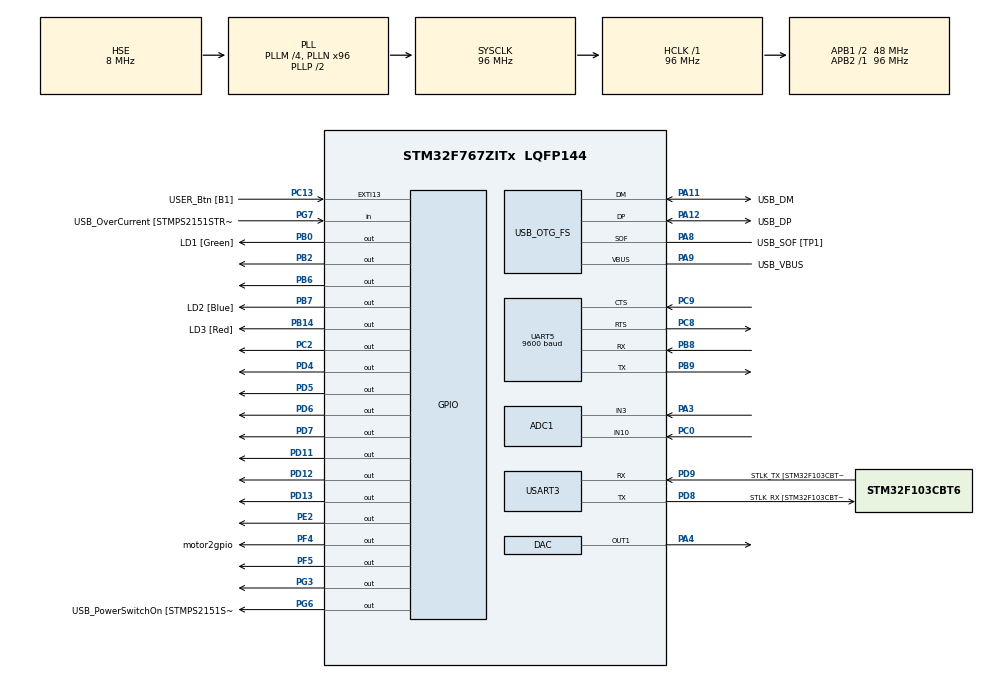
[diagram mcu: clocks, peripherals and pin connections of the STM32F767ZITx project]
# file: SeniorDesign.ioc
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ADC1.Channel-0\#ChannelRegularConversion=ADC_CHANNEL_3
ADC1.Channel-3\#ChannelRegularConversion=ADC_CHANNEL_10
ADC1.ContinuousConvMode=ENABLE
ADC1.EOCSelection=ADC_EOC_SINGLE_CONV
ADC1.NbrOfConversion=2
ADC1.NbrOfConversionFlag=1
ADC1.Rank-0\#ChannelRegularConversion=1
ADC1.Rank-3\#ChannelRegularConversion=2
ADC1.SamplingTime-0\#ChannelRegularConversion=ADC_SAMPLETIME_28CYCLES
ADC1.SamplingTime-3\#ChannelRegularConversion=ADC_SAMPLETIME_56CYCLES
ADC1.ScanConvMode=ADC_SCAN_ENABLE
ADC1.master=1
FREERTOS.Tasks01=stateMachine,24,128,StartDefaultTask,Default,NULL,Dynamic,NULL,NULL;sendData,17,128,StartTask02,Default,NULL,Dynamic,NULL,NULL
FREERTOS.configUSE_NEWLIB_REENTRANT=1
Mcu.Family=STM32F7
Mcu.Name=STM32F767ZITx
Mcu.Package=LQFP144
NVIC.PriorityGroup=NVIC_PRIORITYGROUP_4
NVIC.TIM1_UP_TIM10_IRQn=true\:5\:0\:false\:false\:true\:true\:true\:true\:true
NVIC.TIM6_DAC_IRQn=true\:15\:0\:false\:false\:true\:false\:false\:true\:true
NVIC.TIM7_IRQn=true\:5\:0\:false\:false\:true\:true\:true\:true\:true
NVIC.TimeBase=TIM6_DAC_IRQn
NVIC.TimeBaseIP=TIM6
NVIC.UART5_IRQn=true\:5\:0\:false\:false\:true\:true\:true\:true\:true
NVIC.USART3_IRQn=true\:5\:0\:false\:false\:true\:true\:true\:true\:true
PA1.GPIO_Label=RMII_REF_CLK [LAN8742A-CZ-TR_REFCLK0]
PA1.Signal=ETH_REF_CLK
PA10.GPIO_Label=USB_ID
PA10.Signal=USB_OTG_FS_ID
PA11.GPIO_Label=USB_DM
PA11.Mode=Device_Only
PA11.Signal=USB_OTG_FS_DM
PA12.GPIO_Label=USB_DP
PA12.Mode=Device_Only
PA12.Signal=USB_OTG_FS_DP
PA13.GPIO_Label=TMS
PA13.Mode=Serial_Wire
PA13.Signal=SYS_JTMS-SWDIO
PA14.GPIO_Label=TCK
PA14.Mode=Serial_Wire
PA14.Signal=SYS_JTCK-SWCLK
PA2.GPIO_Label=RMII_MDIO [LAN8742A-CZ-TR_MDIO]
PA2.Signal=ETH_MDIO
PA3.Signal=ADCx_IN3
PA4.Signal=COMP_DAC1_group
PA5.Signal=ADCx_IN5
PA6.Signal=ADCx_IN6
PA7.GPIO_Label=RMII_CRS_DV [LAN8742A-CZ-TR_CRS_DV]
PA7.Signal=ETH_CRS_DV
PA8.GPIO_Label=USB_SOF [TP1]
PA8.Mode=Activate_SOF_FS
PA8.Signal=USB_OTG_FS_SOF
PA9.GPIO_Label=USB_VBUS
PA9.Mode=Activate_VBUS
PA9.Signal=USB_OTG_FS_VBUS
PB0.GPIO_Label=LD1 [Green]
PB0.Signal=GPIO_Output
PB13.GPIO_Label=RMII_TXD1 [LAN8742A-CZ-TR_TXD1]
PB13.Signal=ETH_TXD1
PB14.GPIO_Label=LD3 [Red]
PB14.Signal=GPIO_Output
PB2.Signal=GPIO_Output
PB3.GPIO_Label=SWO
PB3.Signal=SYS_JTDO-SWO
PB6.PinState=GPIO_PIN_RESET
PB6.Signal=GPIO_Output
PB7.GPIO_Label=LD2 [Blue]
PB7.Signal=GPIO_Output
PB8.Mode=Asynchronous
PB8.Signal=UART5_RX
PB9.Mode=Asynchronous
PB9.Signal=UART5_TX
PC0.Signal=ADCx_IN10
PC1.GPIO_Label=RMII_MDC [LAN8742A-CZ-TR_MDC]
PC1.Signal=ETH_MDC
PC13.GPIO_Label=USER_Btn [B1]
PC13.Signal=GPXTI13
PC14/OSC32_IN.Mode=LSE-External-Oscillator
PC14/OSC32_IN.Signal=RCC_OSC32_IN
PC15/OSC32_OUT.Mode=LSE-External-Oscillator
PC15/OSC32_OUT.Signal=RCC_OSC32_OUT
PC2.Signal=GPIO_Output
PC4.GPIO_Label=RMII_RXD0 [LAN8742A-CZ-TR_RXD0]
PC4.Signal=ETH_RXD0
PC5.GPIO_Label=RMII_RXD1 [LAN8742A-CZ-TR_RXD1]
PC5.Signal=ETH_RXD1
PC8.Mode=CTS_RTS
PC8.Signal=UART5_RTS
PC9.Mode=CTS_RTS
PC9.Signal=UART5_CTS
PD11.Signal=GPIO_Output
PD12.Signal=GPIO_Output
PD13.Signal=GPIO_Output
PD4.Signal=GPIO_Output
PD5.Signal=GPIO_Output
PD6.Signal=GPIO_Output
PD7.Signal=GPIO_Output
PD8.GPIO_Label=STLK_RX [STM32F103CBT6_PA3]
PD8.Mode=Asynchronous
PD8.Signal=USART3_TX
PD9.GPIO_Label=STLK_TX [STM32F103CBT6_PA2]
PD9.Mode=Asynchronous
PD9.Signal=USART3_RX
PE2.Signal=GPIO_Output
PF4.GPIO_Label=motor2gpio
PF4.Signal=GPIO_Output
PF5.GPIO_Speed=GPIO_SPEED_FREQ_VERY_HIGH
PF5.Signal=GPIO_Output
PG11.GPIO_Label=RMII_TX_EN [LAN8742A-CZ-TR_TXEN]
PG11.Signal=ETH_TX_EN
PG13.GPIO_Label=RMII_TXD0 [LAN8742A-CZ-TR_TXD0]
PG13.Signal=ETH_TXD0
PG3.Signal=GPIO_Output
PG6.GPIO_Label=USB_PowerSwitchOn [STMPS2151STR_EN]
PG6.Signal=GPIO_Output
PG7.GPIO_Label=USB_OverCurrent [STMPS2151STR_FAULT]
PG7.Signal=GPIO_Input
PH0/OSC_IN.GPIO_Label=MCO [STM32F103CBT6_PA8]
PH0/OSC_IN.Mode=HSE-External-Oscillator
PH0/OSC_IN.Signal=RCC_OSC_IN
PH1/OSC_OUT.Mode=HSE-External-Oscillator
PH1/OSC_OUT.Signal=RCC_OSC_OUT
ProjectManager.HeapSize=0x200
ProjectManager.StackSize=0x400
ProjectManager.TargetToolchain=STM32CubeIDE
RCC.48MHZClocksFreq_Value=24000000
RCC.AHBFreq_Value=96000000
RCC.APB1CLKDivider=RCC_HCLK_DIV2
RCC.APB1Freq_Value=48000000
RCC.APB1TimFreq_Value=96000000
RCC.APB2Freq_Value=96000000
RCC.APB2TimFreq_Value=96000000
RCC.CortexFreq_Value=96000000
RCC.HCLKFreq_Value=96000000
RCC.HSE_VALUE=8000000
RCC.HSI_VALUE=16000000
RCC.PLLM=4
RCC.PLLMUL=RCC_PLL_MUL9
RCC.PLLN=96
RCC.PLLQ=4
RCC.PRESCALERUSB=RCC_USBCLKSOURCE_PLL_DIV1_5
RCC.SYSCLKFreq_VALUE=96000000
RCC.SYSCLKSource=RCC_SYSCLKSOURCE_PLLCLK
RCC.SYSCLKSourceVirtual=RCC_SYSCLKSOURCE_PLLCLK
RCC.USBFreq_Value=48000000
RCC.VCOOutputFreq_Value=192000000
SH.ADCx_IN10.0=ADC1_IN10,IN10
SH.ADCx_IN3.0=ADC1_IN3,IN3
SH.ADCx_IN5.0=ADC1_IN5
SH.ADCx_IN6.0=ADC1_IN6
SH.COMP_DAC1_group.0=DAC_OUT1,DAC_OUT1
TIM10.AutoReloadPreload=TIM_AUTORELOAD_PRELOAD_ENABLE
TIM10.Period=2000 - 1
TIM10.Prescaler=48000 - 1
TIM7.Period=5 - 1
TIM7.Prescaler=9600 - 1
UART5.BaudRate=9600
USART3.VirtualMode-Asynchronous=VM_ASYNC
USB_OTG_FS.VirtualMode=Device_Only
VP_FREERTOS_VS_CMSIS_V2.Mode=CMSIS_V2
VP_SYS_VS_tim6.Mode=TIM6
VP_TIM10_VS_ClockSourceINT.Mode=Enable_Timer
VP_TIM7_VS_ClockSourceINT.Mode=Enable_Timer
board=NUCLEO-F767ZI

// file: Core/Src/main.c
/* USER CODE BEGIN Header */
/**
  ******************************************************************************
  * @file           : main.c
  * @brief          : Main program body
  ******************************************************************************
  * @attention
  *
  * Copyright (c) 2024 STMicroelectronics.
  * All rights reserved.
  *
  * This software is licensed under terms that can be found in the LICENSE file
  * in the root directory of this software component.
  * If no LICENSE file comes with this software, it is provided AS-IS.
  *
  ******************************************************************************
  */
/* USER CODE END Header */
#include "main.h"
#include "cmsis_os.h"

/* USER CODE BEGIN Includes */
#include "flow_controller.h"
#include "project_calls.h"
#include "vacuum_gauge.h"
#include "stepperMotor.h"

#include <math.h>
#include <stdio.h>
#include <string.h>
#include <stdbool.h>
/* USER CODE END Includes */

/* USER CODE BEGIN PTD */
  enum State {
      START,
	  VAC_ACHIEVMENT_TEST_INIT,
      VAC_ACHIEVMENT_TEST,
	  SPECIAL_TEST_INIT,
	  SPECIAL_TEST,
	  WARM_UP_INIT,
      WARM_UP,
      LOAD_TEST_INIT,
	  LOAD_TEST,
      OPERATION_TEST_INIT,
	  OPERATION_TEST,
	  ULTIMATE_MEASURE_TEST_INIT,
      ULTIMATE_MEASURE_TEST,
      IDLE,
      FAIL_STATE,
      STOP
  };
  enum Status {
        IN_PROGRESS,
		COMPLETE,
		FAILURE
    };

  typedef struct{
	  uint8_t stateList[20];
	  uint8_t* currentState;
	  enum State eNextState;
	  uint8_t VATI[8];
	  uint8_t STI[9];
	  uint8_t WUI[8];
	  uint8_t LTI[9];
	  uint8_t OTI[9];
	  uint8_t UMTI[10];
	  enum Status pumpStatus;
  }Test;

/* USER CODE END PTD */

/* USER CODE BEGIN PD */
#define PUMP1 0
#define PUMP2 1

  // Define bit positions for flags
  #define SEND_DATA_BIT           (0)   // LSB

  // Define macros to set and clear individual bits
  #define SET_FLAG_BIT(byte, bit)     ((byte) |= (1 << (bit)))
  #define CLEAR_FLAG_BIT(byte, bit)   ((byte) &= ~(1 << (bit)))
  #define GET_FLAG_BIT(byte, bit)     (((byte) >> (bit)) & 1)
/* USER CODE END PD */

ADC_HandleTypeDef hadc1;

DAC_HandleTypeDef hdac;

TIM_HandleTypeDef htim7;
TIM_HandleTypeDef htim10;

UART_HandleTypeDef huart5;
UART_HandleTypeDef huart3;

PCD_HandleTypeDef hpcd_USB_OTG_FS;

/* Definitions for stateMachine */
osThreadId_t stateMachineHandle;
const osThreadAttr_t stateMachine_attributes = {
  .name = "stateMachine",
  .stack_size = 128 * 4,
  .priority = (osPriority_t) osPriorityNormal,
};
/* Definitions for sendData */
osThreadId_t sendDataHandle;
const osThreadAttr_t sendData_attributes = {
  .name = "sendData",
  .stack_size = 128 * 4,
  .priority = (osPriority_t) osPriorityBelowNormal1,
};
/* USER CODE BEGIN PV */

Test pumpTestsParameters[2] = {
    {
        .stateList = {0}, // Initialize all elements to 0
        .currentState = NULL, // Initialize pointer to NULL
        .eNextState = START,
        .VATI = {0}, // Initialize all elements to 0
        .STI = {0}, // Initialize all elements to 0
        .WUI = {0}, // Initialize all elements to 0
        .LTI = {0}, // Initialize all elements to 0
        .OTI = {0}, // Initialize all elements to 0
        .UMTI = {0}, // Initialize all elements to 0
        .pumpStatus = IN_PROGRESS
    },
    {
        .stateList = {0}, // Initialize all elements to 0
        .currentState = NULL, // Initialize pointer to NULL
        .eNextState = START,
        .VATI = {0}, // Initialize all elements to 0
        .STI = {0}, // Initialize all elements to 0
        .WUI = {0}, // Initialize all elements to 0
        .LTI = {0}, // Initialize all elements to 0
        .OTI = {0}, // Initialize all elements to 0
        .UMTI = {0}, // Initialize all elements to 0
        .pumpStatus = IN_PROGRESS
    }
};

uint8_t pump = 0;
float volts = 0;
float flowVolts = 0;
float vacVolts = 0;
float dacVolts = 0;
float flowRate = 0;
float vacuumScale = 0.0;
float temperature = 25.0;
char msg[68];

uint8_t tx_buffer[20];
uint8_t tx_buffer_size = 0;

// Declare the variable dataTransmitFlags
uint8_t dataTransmitFlags = 0;  // Initialize all bits to 0

uint8_t hours;
uint8_t minutes;
uint8_t seconds;

/* USER CODE END PV */

void SystemClock_Config(void);
static void MX_GPIO_Init(void);
static void MX_USART3_UART_Init(void);
static void MX_USB_OTG_FS_PCD_Init(void);
static void MX_ADC1_Init(void);
static void MX_DAC_Init(void);
static void MX_TIM10_Init(void);
static void MX_TIM7_Init(void);
static void MX_UART5_Init(void);
void StartDefaultTask(void *argument);
void StartTask02(void *argument);

/* USER CODE BEGIN PFP */
void resetTime();
void establishConnection(UART_HandleTypeDef *huart);
/* USER CODE END PFP */

/* USER CODE BEGIN 0 */

/* USER CODE END SysInit */

/* USER CODE END 0 */

int main(void)
{

  /* USER CODE BEGIN 1 */
	pumpTestsParameters[0].currentState = &pumpTestsParameters[0].stateList[0];
	pumpTestsParameters[1].currentState = &pumpTestsParameters[1].stateList[0];
  /* USER CODE END 1 */

  /* MCU Configuration--------------------------------------------------------*/

  /* Reset of all peripherals, Initializes the Flash interface and the Systick. */
  HAL_Init();

  /* Configure the system clock */
  SystemClock_Config();

  /* Initialize all configured peripherals */
  MX_GPIO_Init();
  MX_USART3_UART_Init();
  MX_USB_OTG_FS_PCD_Init();
  MX_ADC1_Init();
  MX_DAC_Init();
  MX_TIM10_Init();
  MX_TIM7_Init();
  MX_UART5_Init();
  /* USER CODE BEGIN 2 */
  // HAL_TIM_Base_Start_IT(&htim7);
  // establishConnection(&huart3);
  /* USER CODE END 2 */

  /* Init scheduler */
  osKernelInitialize();

  /* Create the thread(s) */
  /* creation of stateMachine */
  stateMachineHandle = osThreadNew(StartDefaultTask, NULL, &stateMachine_attributes);

  /* creation of sendData */
  sendDataHandle = osThreadNew(StartTask02, NULL, &sendData_attributes);

  /* USER CODE BEGIN RTOS_THREADS */
  /* add threads, ... */
  osThreadSuspend(sendDataHandle);

  /* USER CODE END RTOS_THREADS */

  /* Start scheduler */
  osKernelStart();

  /* We should never get here as control is now taken by the scheduler */

  /* Infinite loop */
  while (1)
  {

  }
}

void SystemClock_Config(void)
{
  RCC_OscInitTypeDef RCC_OscInitStruct = {0};
  RCC_ClkInitTypeDef RCC_ClkInitStruct = {0};

  /** Configure LSE Drive Capability
  */
  HAL_PWR_EnableBkUpAccess();

  /** Configure the main internal regulator output voltage
  */
  __HAL_RCC_PWR_CLK_ENABLE();
  __HAL_PWR_VOLTAGESCALING_CONFIG(PWR_REGULATOR_VOLTAGE_SCALE3);

  /** Initializes the RCC Oscillators according to the specified parameters
  * in the RCC_OscInitTypeDef structure.
  */
  RCC_OscInitStruct.OscillatorType = RCC_OSCILLATORTYPE_HSE;
  RCC_OscInitStruct.HSEState = RCC_HSE_ON;
  RCC_OscInitStruct.PLL.PLLState = RCC_PLL_ON;
  RCC_OscInitStruct.PLL.PLLSource = RCC_PLLSOURCE_HSE;
  RCC_OscInitStruct.PLL.PLLM = 4;
  RCC_OscInitStruct.PLL.PLLN = 96;
  RCC_OscInitStruct.PLL.PLLP = RCC_PLLP_DIV2;
  RCC_OscInitStruct.PLL.PLLQ = 4;
  RCC_OscInitStruct.PLL.PLLR = 2;
  if (HAL_RCC_OscConfig(&RCC_OscInitStruct) != HAL_OK)
  {
    Error_Handler();
  }

  /** Activate the Over-Drive mode
  */
  if (HAL_PWREx_EnableOverDrive() != HAL_OK)
  {
    Error_Handler();
  }

  /** Initializes the CPU, AHB and APB buses clocks
  */
  RCC_ClkInitStruct.ClockType = RCC_CLOCKTYPE_HCLK|RCC_CLOCKTYPE_SYSCLK
                              |RCC_CLOCKTYPE_PCLK1|RCC_CLOCKTYPE_PCLK2;
  RCC_ClkInitStruct.SYSCLKSource = RCC_SYSCLKSOURCE_PLLCLK;
  RCC_ClkInitStruct.AHBCLKDivider = RCC_SYSCLK_DIV1;
  RCC_ClkInitStruct.APB1CLKDivider = RCC_HCLK_DIV2;
  RCC_ClkInitStruct.APB2CLKDivider = RCC_HCLK_DIV1;

  if (HAL_RCC_ClockConfig(&RCC_ClkInitStruct, FLASH_LATENCY_3) != HAL_OK)
  {
    Error_Handler();
  }
}

static void MX_ADC1_Init(void)
{

  ADC_ChannelConfTypeDef sConfig = {0};

  /** Configure the global features of the ADC (Clock, Resolution, Data Alignment and number of conversion)
  */
  hadc1.Instance = ADC1;
  hadc1.Init.ClockPrescaler = ADC_CLOCK_SYNC_PCLK_DIV4;
  hadc1.Init.Resolution = ADC_RESOLUTION_12B;
  hadc1.Init.ScanConvMode = ADC_SCAN_ENABLE;
  hadc1.Init.ContinuousConvMode = ENABLE;
  hadc1.Init.DiscontinuousConvMode = DISABLE;
  hadc1.Init.ExternalTrigConvEdge = ADC_EXTERNALTRIGCONVEDGE_NONE;
  hadc1.Init.ExternalTrigConv = ADC_SOFTWARE_START;
  hadc1.Init.DataAlign = ADC_DATAALIGN_RIGHT;
  hadc1.Init.NbrOfConversion = 2;
  hadc1.Init.DMAContinuousRequests = DISABLE;
  hadc1.Init.EOCSelection = ADC_EOC_SINGLE_CONV;
  if (HAL_ADC_Init(&hadc1) != HAL_OK)
  {
    Error_Handler();
  }

  /** Configure for the selected ADC regular channel its corresponding rank in the sequencer and its sample time.
  */
  sConfig.Channel = ADC_CHANNEL_3;
  sConfig.Rank = ADC_REGULAR_RANK_1;
  sConfig.SamplingTime = ADC_SAMPLETIME_28CYCLES;
  if (HAL_ADC_ConfigChannel(&hadc1, &sConfig) != HAL_OK)
  {
    Error_Handler();
  }

  /** Configure for the selected ADC regular channel its corresponding rank in the sequencer and its sample time.
  */
  sConfig.Channel = ADC_CHANNEL_10;
  sConfig.Rank = ADC_REGULAR_RANK_2;
  sConfig.SamplingTime = ADC_SAMPLETIME_56CYCLES;
  if (HAL_ADC_ConfigChannel(&hadc1, &sConfig) != HAL_OK)
  {
    Error_Handler();
  }

}

static void MX_DAC_Init(void)
{

  DAC_ChannelConfTypeDef sConfig = {0};

  /** DAC Initialization
  */
  hdac.Instance = DAC;
  if (HAL_DAC_Init(&hdac) != HAL_OK)
  {
    Error_Handler();
  }

  /** DAC channel OUT1 config
  */
  sConfig.DAC_Trigger = DAC_TRIGGER_NONE;
  sConfig.DAC_OutputBuffer = DAC_OUTPUTBUFFER_ENABLE;
  if (HAL_DAC_ConfigChannel(&hdac, &sConfig, DAC_CHANNEL_1) != HAL_OK)
  {
    Error_Handler();
  }

}

static void MX_TIM7_Init(void)
{

  TIM_MasterConfigTypeDef sMasterConfig = {0};

  htim7.Instance = TIM7;
  htim7.Init.Prescaler = 9600 - 1;
  htim7.Init.CounterMode = TIM_COUNTERMODE_UP;
  htim7.Init.Period = 5 - 1;
  htim7.Init.AutoReloadPreload = TIM_AUTORELOAD_PRELOAD_DISABLE;
  if (HAL_TIM_Base_Init(&htim7) != HAL_OK)
  {
    Error_Handler();
  }
  sMasterConfig.MasterOutputTrigger = TIM_TRGO_RESET;
  sMasterConfig.MasterSlaveMode = TIM_MASTERSLAVEMODE_DISABLE;
  if (HAL_TIMEx_MasterConfigSynchronization(&htim7, &sMasterConfig) != HAL_OK)
  {
    Error_Handler();
  }

}

static void MX_TIM10_Init(void)
{

  htim10.Instance = TIM10;
  htim10.Init.Prescaler = 48000 - 1;
  htim10.Init.CounterMode = TIM_COUNTERMODE_UP;
  htim10.Init.Period = 2000 - 1;
  htim10.Init.ClockDivision = TIM_CLOCKDIVISION_DIV1;
  htim10.Init.AutoReloadPreload = TIM_AUTORELOAD_PRELOAD_ENABLE;
  if (HAL_TIM_Base_Init(&htim10) != HAL_OK)
  {
    Error_Handler();
  }

}

static void MX_UART5_Init(void)
{

  huart5.Instance = UART5;
  huart5.Init.BaudRate = 9600;
  huart5.Init.WordLength = UART_WORDLENGTH_8B;
  huart5.Init.StopBits = UART_STOPBITS_1;
  huart5.Init.Parity = UART_PARITY_NONE;
  huart5.Init.Mode = UART_MODE_TX_RX;
  huart5.Init.HwFlowCtl = UART_HWCONTROL_RTS_CTS;
  huart5.Init.OverSampling = UART_OVERSAMPLING_16;
  huart5.Init.OneBitSampling = UART_ONE_BIT_SAMPLE_DISABLE;
  huart5.AdvancedInit.AdvFeatureInit = UART_ADVFEATURE_NO_INIT;
  if (HAL_UART_Init(&huart5) != HAL_OK)
  {
    Error_Handler();
  }

}

static void MX_USART3_UART_Init(void)
{

  huart3.Instance = USART3;
  huart3.Init.BaudRate = 115200;
  huart3.Init.WordLength = UART_WORDLENGTH_8B;
  huart3.Init.StopBits = UART_STOPBITS_1;
  huart3.Init.Parity = UART_PARITY_NONE;
  huart3.Init.Mode = UART_MODE_TX_RX;
  huart3.Init.HwFlowCtl = UART_HWCONTROL_NONE;
  huart3.Init.OverSampling = UART_OVERSAMPLING_16;
  huart3.Init.OneBitSampling = UART_ONE_BIT_SAMPLE_DISABLE;
  huart3.AdvancedInit.AdvFeatureInit = UART_ADVFEATURE_NO_INIT;
  if (HAL_UART_Init(&huart3) != HAL_OK)
  {
    Error_Handler();
  }

}

static void MX_USB_OTG_FS_PCD_Init(void)
{

  hpcd_USB_OTG_FS.Instance = USB_OTG_FS;
  hpcd_USB_OTG_FS.Init.dev_endpoints = 6;
  hpcd_USB_OTG_FS.Init.speed = PCD_SPEED_FULL;
  hpcd_USB_OTG_FS.Init.dma_enable = DISABLE;
  hpcd_USB_OTG_FS.Init.phy_itface = PCD_PHY_EMBEDDED;
  hpcd_USB_OTG_FS.Init.Sof_enable = ENABLE;
  hpcd_USB_OTG_FS.Init.low_power_enable = DISABLE;
  hpcd_USB_OTG_FS.Init.lpm_enable = DISABLE;
  hpcd_USB_OTG_FS.Init.vbus_sensing_enable = ENABLE;
  hpcd_USB_OTG_FS.Init.use_dedicated_ep1 = DISABLE;
  if (HAL_PCD_Init(&hpcd_USB_OTG_FS) != HAL_OK)
  {
    Error_Handler();
  }

}

static void MX_GPIO_Init(void)
{
  GPIO_InitTypeDef GPIO_InitStruct = {0};

  /* GPIO Ports Clock Enable */
  __HAL_RCC_GPIOE_CLK_ENABLE();
  __HAL_RCC_GPIOC_CLK_ENABLE();
  __HAL_RCC_GPIOF_CLK_ENABLE();
  __HAL_RCC_GPIOH_CLK_ENABLE();
  __HAL_RCC_GPIOA_CLK_ENABLE();
  __HAL_RCC_GPIOB_CLK_ENABLE();
  __HAL_RCC_GPIOD_CLK_ENABLE();
  __HAL_RCC_GPIOG_CLK_ENABLE();

  /*Configure GPIO pin Output Level */
  HAL_GPIO_WritePin(GPIOE, GPIO_PIN_2, GPIO_PIN_RESET);

  /*Configure GPIO pin Output Level */
  HAL_GPIO_WritePin(GPIOF, motor2gpio_Pin|GPIO_PIN_5, GPIO_PIN_RESET);

  /*Configure GPIO pin Output Level */
  HAL_GPIO_WritePin(GPIOC, GPIO_PIN_2, GPIO_PIN_RESET);

  /*Configure GPIO pin Output Level */
  HAL_GPIO_WritePin(GPIOB, LD1_Pin|GPIO_PIN_2|LD3_Pin|GPIO_PIN_6
                          |LD2_Pin, GPIO_PIN_RESET);

  /*Configure GPIO pin Output Level */
  HAL_GPIO_WritePin(GPIOD, GPIO_PIN_11|GPIO_PIN_12|GPIO_PIN_13|GPIO_PIN_4
                          |GPIO_PIN_5|GPIO_PIN_6|GPIO_PIN_7, GPIO_PIN_RESET);

  /*Configure GPIO pin Output Level */
  HAL_GPIO_WritePin(GPIOG, GPIO_PIN_3|USB_PowerSwitchOn_Pin, GPIO_PIN_RESET);

  /*Configure GPIO pin : PE2 */
  GPIO_InitStruct.Pin = GPIO_PIN_2;
  GPIO_InitStruct.Mode = GPIO_MODE_OUTPUT_PP;
  GPIO_InitStruct.Pull = GPIO_NOPULL;
  GPIO_InitStruct.Speed = GPIO_SPEED_FREQ_LOW;
  HAL_GPIO_Init(GPIOE, &GPIO_InitStruct);

  /*Configure GPIO pin : USER_Btn_Pin */
  GPIO_InitStruct.Pin = USER_Btn_Pin;
  GPIO_InitStruct.Mode = GPIO_MODE_IT_RISING;
  GPIO_InitStruct.Pull = GPIO_NOPULL;
  HAL_GPIO_Init(USER_Btn_GPIO_Port, &GPIO_InitStruct);

  /*Configure GPIO pin : motor2gpio_Pin */
  GPIO_InitStruct.Pin = motor2gpio_Pin;
  GPIO_InitStruct.Mode = GPIO_MODE_OUTPUT_PP;
  GPIO_InitStruct.Pull = GPIO_NOPULL;
  GPIO_InitStruct.Speed = GPIO_SPEED_FREQ_LOW;
  HAL_GPIO_Init(motor2gpio_GPIO_Port, &GPIO_InitStruct);

  /*Configure GPIO pin : PF5 */
  GPIO_InitStruct.Pin = GPIO_PIN_5;
  GPIO_InitStruct.Mode = GPIO_MODE_OUTPUT_PP;
  GPIO_InitStruct.Pull = GPIO_NOPULL;
  GPIO_InitStruct.Speed = GPIO_SPEED_FREQ_VERY_HIGH;
  HAL_GPIO_Init(GPIOF, &GPIO_InitStruct);

  /*Configure GPIO pins : RMII_MDC_Pin RMII_RXD0_Pin RMII_RXD1_Pin */
  GPIO_InitStruct.Pin = RMII_MDC_Pin|RMII_RXD0_Pin|RMII_RXD1_Pin;
  GPIO_InitStruct.Mode = GPIO_MODE_AF_PP;
  GPIO_InitStruct.Pull = GPIO_NOPULL;
  GPIO_InitStruct.Speed = GPIO_SPEED_FREQ_VERY_HIGH;
  GPIO_InitStruct.Alternate = GPIO_AF11_ETH;
  HAL_GPIO_Init(GPIOC, &GPIO_InitStruct);

  /*Configure GPIO pin : PC2 */
  GPIO_InitStruct.Pin = GPIO_PIN_2;
  GPIO_InitStruct.Mode = GPIO_MODE_OUTPUT_PP;
  GPIO_InitStruct.Pull = GPIO_NOPULL;
  GPIO_InitStruct.Speed = GPIO_SPEED_FREQ_LOW;
  HAL_GPIO_Init(GPIOC, &GPIO_InitStruct);

  /*Configure GPIO pins : RMII_REF_CLK_Pin RMII_MDIO_Pin RMII_CRS_DV_Pin */
  GPIO_InitStruct.Pin = RMII_REF_CLK_Pin|RMII_MDIO_Pin|RMII_CRS_DV_Pin;
  GPIO_InitStruct.Mode = GPIO_MODE_AF_PP;
  GPIO_InitStruct.Pull = GPIO_NOPULL;
  GPIO_InitStruct.Speed = GPIO_SPEED_FREQ_VERY_HIGH;
  GPIO_InitStruct.Alternate = GPIO_AF11_ETH;
  HAL_GPIO_Init(GPIOA, &GPIO_InitStruct);

  /*Configure GPIO pins : LD1_Pin PB2 LD3_Pin PB6
                           LD2_Pin */
  GPIO_InitStruct.Pin = LD1_Pin|GPIO_PIN_2|LD3_Pin|GPIO_PIN_6
                          |LD2_Pin;
  GPIO_InitStruct.Mode = GPIO_MODE_OUTPUT_PP;
  GPIO_InitStruct.Pull = GPIO_NOPULL;
  GPIO_InitStruct.Speed = GPIO_SPEED_FREQ_LOW;
  HAL_GPIO_Init(GPIOB, &GPIO_InitStruct);

  /*Configure GPIO pin : RMII_TXD1_Pin */
  GPIO_InitStruct.Pin = RMII_TXD1_Pin;
  GPIO_InitStruct.Mode = GPIO_MODE_AF_PP;
  GPIO_InitStruct.Pull = GPIO_NOPULL;
  GPIO_InitStruct.Speed = GPIO_SPEED_FREQ_VERY_HIGH;
  GPIO_InitStruct.Alternate = GPIO_AF11_ETH;
  HAL_GPIO_Init(RMII_TXD1_GPIO_Port, &GPIO_InitStruct);

  /*Configure GPIO pins : PD11 PD12 PD13 PD4
                           PD5 PD6 PD7 */
  GPIO_InitStruct.Pin = GPIO_PIN_11|GPIO_PIN_12|GPIO_PIN_13|GPIO_PIN_4
                          |GPIO_PIN_5|GPIO_PIN_6|GPIO_PIN_7;
  GPIO_InitStruct.Mode = GPIO_MODE_OUTPUT_PP;
  GPIO_InitStruct.Pull = GPIO_NOPULL;
  GPIO_InitStruct.Speed = GPIO_SPEED_FREQ_LOW;
  HAL_GPIO_Init(GPIOD, &GPIO_InitStruct);

  /*Configure GPIO pins : PG3 USB_PowerSwitchOn_Pin */
  GPIO_InitStruct.Pin = GPIO_PIN_3|USB_PowerSwitchOn_Pin;
  GPIO_InitStruct.Mode = GPIO_MODE_OUTPUT_PP;
  GPIO_InitStruct.Pull = GPIO_NOPULL;
  GPIO_InitStruct.Speed = GPIO_SPEED_FREQ_LOW;
  HAL_GPIO_Init(GPIOG, &GPIO_InitStruct);

  /*Configure GPIO pin : USB_OverCurrent_Pin */
  GPIO_InitStruct.Pin = USB_OverCurrent_Pin;
  GPIO_InitStruct.Mode = GPIO_MODE_INPUT;
  GPIO_InitStruct.Pull = GPIO_NOPULL;
  HAL_GPIO_Init(USB_OverCurrent_GPIO_Port, &GPIO_InitStruct);

  /*Configure GPIO pins : RMII_TX_EN_Pin RMII_TXD0_Pin */
  GPIO_InitStruct.Pin = RMII_TX_EN_Pin|RMII_TXD0_Pin;
  GPIO_InitStruct.Mode = GPIO_MODE_AF_PP;
  GPIO_InitStruct.Pull = GPIO_NOPULL;
  GPIO_InitStruct.Speed = GPIO_SPEED_FREQ_VERY_HIGH;
  GPIO_InitStruct.Alternate = GPIO_AF11_ETH;
  HAL_GPIO_Init(GPIOG, &GPIO_InitStruct);

}

/* USER CODE BEGIN 4 */

void HAL_UART_RxCpltCallback(UART_HandleTypeDef *huart)
{
    if (huart == &huart3)
    {
        // Echo received data back
        //HAL_UART_Transmit(&huart3, (uint8_t*)tx_buffer, tx_buffer_size, HAL_MAX_DELAY);
        // Start a new receive operation
        //HAL_UART_Receive_IT(&huart3, (uint8_t*)rx_buffer, 5);
    }
}
void resetTime(){
	seconds = 0;
	minutes = 0;
	hours = 0;
//	HAL_TIM_Base_DeInit(&htim10);
//	HAL_TIM_Base_Init(&htim10);
}
/* USER CODE END 4 */

void StartDefaultTask(void *argument)
{
  /* USER CODE BEGIN 5 */
  /* Infinite loop */
  for(;;)
  {
	  switch(pumpTestsParameters[pump].eNextState) {
	  			case START:
	  				osThreadSuspend(sendDataHandle);
					volts = setFlowRate(0);					// assigns volts to 0 L/min
					//dacSet(&hdac, DAC_CHANNEL_1, volts);	// Sets volts
					flowControllerADC(&hadc1);				// Changes ADC mult to read Flow Ctrl
					//flowStateOpen();						// Opens Flow Ctrl
					resetTime();							// Resets Clk

					recalibrate();
					HAL_TIM_Base_Start_IT(&htim7);			// Opens Stepper Motor

//					if(pump){
//						solenoidTwoOpen();
//					}else{
//						solenoidOneOpen();
//					}
					solenoidTwoOpen();
//	  				pumpTestsParameters[0].stateList[0] = START;
//	  				pumpTestsParameters[0].stateList[1] = IDLE;
//	  				//pumpTestsParameters[0].stateList[1] = VAC_ACHIEVMENT_TEST_INIT;
//	  				pumpTestsParameters[0].stateList[2] = SPECIAL_TEST_INIT;
//	  				pumpTestsParameters[0].stateList[3] = WARM_UP_INIT;
//	  				pumpTestsParameters[0].stateList[4] = LOAD_TEST_INIT;
//	  				pumpTestsParameters[0].stateList[5] = OPERATION_TEST_INIT;
//	  				pumpTestsParameters[0].stateList[6] = VAC_ACHIEVMENT_TEST_INIT;
//	  				pumpTestsParameters[0].stateList[7] = ULTIMATE_MEASURE_TEST_INIT;
//	  				pumpTestsParameters[0].stateList[8] = IDLE;
//	  				pumpTestsParameters[0].stateList[9] = 0;

					// sends current State
					HAL_UART_Transmit(&huart3, (uint8_t*)&pumpTestsParameters[pump].eNextState, 1, HAL_MAX_DELAY);

					// Receives State List
					HAL_UART_Receive(&huart3, (uint8_t*)&pumpTestsParameters[pump].stateList, 20, HAL_MAX_DELAY);

					pumpTestsParameters[pump].eNextState = *(pumpTestsParameters[pump]).currentState;
	  				break;
	  			case VAC_ACHIEVMENT_TEST_INIT:

//					pumpTestsParameters[0].VATI[0] = VAC_ACHIEVMENT_TEST_INIT;
//					pumpTestsParameters[0].VATI[1] = PUMP1;
//					pumpTestsParameters[0].VATI[2] = 1;		// TIMER HOURS
//					pumpTestsParameters[0].VATI[3] = 0;		// TIMER MINUTES
//					pumpTestsParameters[0].VATI[4] = 0;		// Stepper motor open
//					pumpTestsParameters[0].VATI[5] = 1;		// flow controller closed
//					pumpTestsParameters[0].VATI[6] = 3;		// mTorr
//					pumpTestsParameters[0].VATI[7] = 50;		// temperature in C

					// sends current State
					HAL_UART_Transmit(&huart3, (uint8_t*)&pumpTestsParameters[pump].eNextState, 1, HAL_MAX_DELAY);

					// Receives Parameters
					HAL_UART_Receive(&huart3, (uint8_t*)&pumpTestsParameters[0].VATI[0], 8, HAL_MAX_DELAY);

	  				flowStateClose();
	  				stepperOpen();
	  				//solenoidOneOpen();
	  				//solenoidClose();
	  				vacuumGaugeADC(&hadc1);
	  				pumpTestsParameters[pump].eNextState = VAC_ACHIEVMENT_TEST;

	  				// Starts data Transfer
	  				SET_FLAG_BIT(dataTransmitFlags, SEND_DATA_BIT);
	  				osThreadResume(sendDataHandle);

	  				// Starts this timer
	  				HAL_TIM_Base_Start_IT(&htim10);
	  				resetTime();

	  				break;
	  			case VAC_ACHIEVMENT_TEST:
	  				volts = adcGet(&hadc1);
	  				vacuumScale = readVacuum(volts);

	  				// Remove this once STM is connected to hardware
	  				vacuumScale = 1000;
	  				if(seconds >= 10){	// Passes test after 10 seconds
	  					vacuumScale = 0;
	  				}
	  				//

	  				if(vacuumScale <= (float)pumpTestsParameters[pump].VATI[6] / 1000.0){	// Success
	  					HAL_TIM_Base_Stop_IT(&htim10);
		  				// osThreadSuspend(sendDataHandle);
	  					CLEAR_FLAG_BIT(dataTransmitFlags, SEND_DATA_BIT);	// Suspends Data Transfer
						osThreadSuspend(stateMachineHandle);			// Pause Testing until Final Message is sent
	  					pumpTestsParameters[pump].currentState++;
	  					pumpTestsParameters[pump].eNextState = *(pumpTestsParameters[pump].currentState);
	  				}else if(temperature >= pumpTestsParameters[pump].VATI[7]){	// if current temp is >= temp limit
	  					pumpTestsParameters[pump].eNextState = FAIL_STATE;
	  					pumpTestsParameters[pump].pumpStatus = FAILURE;
	  					break;
	  				}else if(pumpTestsParameters[pump].VATI[2] == hours && pumpTestsParameters[pump].VATI[3] == minutes){
	  					pumpTestsParameters[pump].eNextState = FAIL_STATE;
	  					pumpTestsParameters[pump].pumpStatus = FAILURE;
	  					break;
	  				}

	  				osDelay(100); // Checks condition every 100 ms

	  				break;
	  			case SPECIAL_TEST_INIT:
//					pumpTestsParameters[0].STI[0] = SPECIAL_TEST_INIT;
//					pumpTestsParameters[0].STI[1] = PUMP1;
//					pumpTestsParameters[0].STI[2] = 0;		// TIMER HOURS
//					pumpTestsParameters[0].STI[3] = 10;		// TIMER MINUTES
//					pumpTestsParameters[0].STI[4] = 0;		// Stepper motor open
//					pumpTestsParameters[0].STI[5] = 3;		// flow controller controlled
//					pumpTestsParameters[0].STI[6] = 0;		// mTorr
//					pumpTestsParameters[0].STI[7] = 50;		// temperature in C
//					pumpTestsParameters[0].STI[8] = 50;		// Flow Rate

					// sends current State
					HAL_UART_Transmit(&huart3, (uint8_t*)&pumpTestsParameters[pump].eNextState, 1, HAL_MAX_DELAY);

					// Receives Parameters
					HAL_UART_Receive(&huart3, (uint8_t*)&pumpTestsParameters[0].STI[0], 9, HAL_MAX_DELAY);

	  				flowStateControl();
	  				stepperOpen();
//	  				solenoidOpen();
//	  				solenoidClose();
	  				flowControllerADC(&hadc1);
	  				pumpTestsParameters[pump].eNextState = SPECIAL_TEST;
	  				dacSet(&hdac, DAC_CHANNEL_1, setFlowRate(pumpTestsParameters[pump].STI[8]));

	  				// Starts data Transfer
	  				SET_FLAG_BIT(dataTransmitFlags, SEND_DATA_BIT);
	  				osThreadResume(sendDataHandle);

	  				// Starts this timer
	  				HAL_TIM_Base_Start_IT(&htim10);
	  				resetTime();

	  				break;

	  			case SPECIAL_TEST:
	  				flowControllerADC(&hadc1);
					volts = adcGet(&hadc1);
					flowRate = readFlow(volts);
					vacuumGaugeADC(&hadc1);
	  				volts = adcGet(&hadc1);
	  				vacuumScale = readVacuum(volts);

	  				// Remove this Once STM is connected to the hardware
	  				flowRate = 0;
	  				vacuumScale = 1000;
	  				if(seconds >= 10){	// After 10 sec Test is success
	  					flowRate = 50;
	  				}
	  				//

	  				if((uint8_t)flowRate == pumpTestsParameters[pump].STI[8]){	// success
	  					HAL_TIM_Base_Stop_IT(&htim10);
						// osThreadSuspend(sendDataHandle);
	  					CLEAR_FLAG_BIT(dataTransmitFlags, SEND_DATA_BIT);	// Suspends Data Transfer
	  					osThreadSuspend(stateMachineHandle);			// Pause Testing until Final Message is sent
	  					pumpTestsParameters[pump].currentState++;
	  					pumpTestsParameters[pump].eNextState = *(pumpTestsParameters[pump].currentState);
	  				}else if(temperature >= pumpTestsParameters[pump].STI[7]){	// if current temp is >= temp limit
	  					pumpTestsParameters[pump].eNextState = FAIL_STATE;
	  					pumpTestsParameters[pump].pumpStatus = FAILURE;
	  					break;
	  				}else if(pumpTestsParameters[pump].STI[2] == hours && pumpTestsParameters[pump].STI[3] == minutes){
	  					pumpTestsParameters[pump].eNextState = FAIL_STATE;
						pumpTestsParameters[pump].pumpStatus = FAILURE;
						break;
	  				}
	  				osDelay(100);	// Checks condition every 100 ms
					break;
	  			case WARM_UP_INIT:

//	  				pumpTestsParameters[0].WUI[0] = WARM_UP_INIT;
//					pumpTestsParameters[0].WUI[1] = PUMP1;
//					pumpTestsParameters[0].WUI[2] = 3;		// TIMER HOURS
//					pumpTestsParameters[0].WUI[3] = 0;		// TIMER MINUTES
//					pumpTestsParameters[0].WUI[4] = 0;		// Stepper motor open
//					pumpTestsParameters[0].WUI[5] = 0;		// flow controller open
//					pumpTestsParameters[0].WUI[6] = 0;		// mTorr
//					pumpTestsParameters[0].WUI[7] = 100;	// temperature in C

					// sends current State
					HAL_UART_Transmit(&huart3, (uint8_t*)&pumpTestsParameters[pump].eNextState, 1, HAL_MAX_DELAY);

					// Receives Parameters
					HAL_UART_Receive(&huart3, (uint8_t*)&pumpTestsParameters[0].WUI[0], 8, HAL_MAX_DELAY);

	  				flowStateOpen();
	  				stepperOpen();
//	  				solenoidOpen();
//	  				solenoidClose();
	  				vacuumGaugeADC(&hadc1);
	  				pumpTestsParameters[pump].eNextState = WARM_UP;

	  				// Starts data Transfer
	  				SET_FLAG_BIT(dataTransmitFlags, SEND_DATA_BIT);
	  				osThreadResume(sendDataHandle);

	  				// Starts this timer
	  				HAL_TIM_Base_Start_IT(&htim10);
	  				resetTime();

	  				break;
	  			case WARM_UP:
	  				// Remove this once STM is connected to hardware
	  				//

	  				// record internal/external temperatures
	  				if(pumpTestsParameters[pump].WUI[2] == hours && pumpTestsParameters[pump].WUI[3] == minutes){	// Success
	  					HAL_TIM_Base_Stop_IT(&htim10);
	  					//osThreadSuspend(sendDataHandle);
	  					CLEAR_FLAG_BIT(dataTransmitFlags, SEND_DATA_BIT);	// Suspends Data Transfer
	  					osThreadSuspend(stateMachineHandle);			// Pause Testing until Final Message is sent
	  					pumpTestsParameters[pump].currentState++;
	  					pumpTestsParameters[pump].eNextState = *(pumpTestsParameters[pump].currentState);
	  				}else if(temperature >= pumpTestsParameters[0].WUI[7]){	// if current temp is >= temp limit
	  					pumpTestsParameters[pump].eNextState = FAIL_STATE;
	  					pumpTestsParameters[pump].pumpStatus = FAILURE;
	  					break;
	  				}
	  				osDelay(100);	// Checks condition every 100 ms
	  				break;
	  			case LOAD_TEST_INIT:

//					pumpTestsParameters[0].LTI[0] = LOAD_TEST_INIT;
//					pumpTestsParameters[0].LTI[1] = PUMP1;
//					pumpTestsParameters[0].LTI[2] = 8;		// TIMER HOURS
//					pumpTestsParameters[0].LTI[3] = 0;		// TIMER MINUTES
//					pumpTestsParameters[0].LTI[4] = 0;		// Stepper motor open
//					pumpTestsParameters[0].LTI[5] = 3;		// flow controller Controlled
//					pumpTestsParameters[0].LTI[6] = 0;		// mTorr
//					pumpTestsParameters[0].LTI[7] = 100;	// temperature in C
//	  				pumpTestsParameters[0].LTI[8] = 50;		// Flow Rate

					// sends current State
					HAL_UART_Transmit(&huart3, (uint8_t*)&pumpTestsParameters[pump].eNextState, 1, HAL_MAX_DELAY);

					// Receives Parameters
					HAL_UART_Receive(&huart3, (uint8_t*)&pumpTestsParameters[0].LTI[0], 8, HAL_MAX_DELAY);

	  				stepperOpen();
//	  				solenoidOpen();
//	  				solenoidClose();
	  				flowControllerADC(&hadc1);
	  				pumpTestsParameters[pump].eNextState = LOAD_TEST;
	  				dacSet(&hdac, DAC_CHANNEL_1, setFlowRate(pumpTestsParameters[pump].LTI[8]));

	  				// Starts data Transfer
	  				SET_FLAG_BIT(dataTransmitFlags, SEND_DATA_BIT);
	  				osThreadResume(sendDataHandle);

	  				// Starts this timer
	  				HAL_TIM_Base_Start_IT(&htim10);
	  				resetTime();

	  				break;
	  			case LOAD_TEST:

					volts = adcGet(&hadc1);
					flowRate = readFlow(volts);

					// Remove this Once STM is connected to the hardware
					flowRate = 0;
					//

	  				if(pumpTestsParameters[pump].LTI[2] == hours && pumpTestsParameters[pump].LTI[3] == minutes){	// Success
	  					HAL_TIM_Base_Stop_IT(&htim10);
	  					// osThreadSuspend(sendDataHandle);
	  					CLEAR_FLAG_BIT(dataTransmitFlags, SEND_DATA_BIT);	// Suspends Data Transfer
	  					osThreadSuspend(stateMachineHandle);			// Pause Testing until Final Message is sent
	  					pumpTestsParameters[pump].currentState++;
	  					pumpTestsParameters[pump].eNextState = *(pumpTestsParameters[pump].currentState);
	  				}else if(temperature >= pumpTestsParameters[0].LTI[7]){	// if current temp is >= temp limit
	  					pumpTestsParameters[pump].eNextState = FAIL_STATE;
	  					pumpTestsParameters[pump].pumpStatus = FAILURE;
	  					break;
	  				}

	  				osDelay(100);	// Checks condition every 100 ms
	  				break;
	  			case OPERATION_TEST_INIT:

//					pumpTestsParameters[0].OTI[0] = OPERATION_TEST_INIT;
//					pumpTestsParameters[0].OTI[1] = PUMP1;
//					pumpTestsParameters[0].OTI[2] = 4;		// TIMER HOURS
//					pumpTestsParameters[0].OTI[3] = 0;		// TIMER MINUTES
//					pumpTestsParameters[0].OTI[4] = 0;		// Stepper motor open
//					pumpTestsParameters[0].OTI[5] = 3;		// flow controller Controlled
//					pumpTestsParameters[0].OTI[6] = 0;		// mTorr
//					pumpTestsParameters[0].OTI[7] = 100;	// temperature in C
//	  				pumpTestsParameters[0].OTI[8] = 0;		// Flow Rate

					// sends current State
					HAL_UART_Transmit(&huart3, (uint8_t*)&pumpTestsParameters[pump].eNextState, 1, HAL_MAX_DELAY);

					// Receives Parameters
					HAL_UART_Receive(&huart3, (uint8_t*)&pumpTestsParameters[0].OTI[0], 8, HAL_MAX_DELAY);

	  				stepperOpen();
//	  				solenoidOpen();
//	  				solenoidClose();
	  				flowControllerADC(&hadc1);
	  				pumpTestsParameters[pump].eNextState = OPERATION_TEST;
	  				//dacSet(&hdac, DAC_CHANNEL_1, setFlowRate(pumpTestsParameters[pump].LTI[8]));

	  				// Starts data Transfer
	  				SET_FLAG_BIT(dataTransmitFlags, SEND_DATA_BIT);
	  				osThreadResume(sendDataHandle);

	  				// Starts this timer
	  				HAL_TIM_Base_Start_IT(&htim10);
	  				resetTime();

	  				break;
	  			case OPERATION_TEST:
	  				flowControllerADC(&hadc1);
					volts = adcGet(&hadc1);
					flowRate = readFlow(volts);
					vacuumGaugeADC(&hadc1);
					volts = adcGet(&hadc1);
					vacuumScale = readVacuum(volts);

					// Remove this once STM is connected to Hardware
					//

	  				if(pumpTestsParameters[pump].OTI[2] == hours && pumpTestsParameters[pump].OTI[3] == minutes){	// Success
	  					HAL_TIM_Base_Stop_IT(&htim10);
	  					// osThreadSuspend(sendDataHandle);
	  					CLEAR_FLAG_BIT(dataTransmitFlags, SEND_DATA_BIT);	// Suspends Data Transfer
	  					osThreadSuspend(stateMachineHandle);			// Pause Testing until Final Message is sent
	  					pumpTestsParameters[pump].currentState++;
	  					pumpTestsParameters[pump].eNextState = *(pumpTestsParameters[pump].currentState);
	  				}else if(temperature >= pumpTestsParameters[0].OTI[7]){	// if current temp is >= temp limit
	  					pumpTestsParameters[pump].eNextState = FAIL_STATE;
	  					pumpTestsParameters[pump].pumpStatus = FAILURE;
	  					break;
	  				}
	  				osDelay(100);
	  				break;
	  			case ULTIMATE_MEASURE_TEST_INIT:

//					pumpTestsParameters[0].UMTI[0] = ULTIMATE_MEASURE_TEST_INIT;
//					pumpTestsParameters[0].UMTI[1] = PUMP1;
//					pumpTestsParameters[0].UMTI[2] = 3;		// TIMER HOURS
//					pumpTestsParameters[0].UMTI[3] = 0;		// TIMER MINUTES
//					pumpTestsParameters[0].UMTI[4] = 3;		// Stepper motor Controlled
//					pumpTestsParameters[0].UMTI[5] = 0;		// flow controller open
//					pumpTestsParameters[0].UMTI[6] = 0;		// mTorr
//					pumpTestsParameters[0].UMTI[7] = 100;	// temperature in C
//	  				pumpTestsParameters[0].UMI[8] = 50;		// Flow Rate
//					pumpTestsParameters[0].UMTI[9] = 15;	// Pressure in kPA

					// sends current State
					HAL_UART_Transmit(&huart3, (uint8_t*)&pumpTestsParameters[pump].eNextState, 1, HAL_MAX_DELAY);

					// Receives Parameters
					HAL_UART_Receive(&huart3, (uint8_t*)&pumpTestsParameters[0].UMTI[0], 9, HAL_MAX_DELAY);

					stepperStep(800);				// close valve half way
					HAL_TIM_Base_Start_IT(&htim7);	// starts closing
	  				stepperOpen();
//	  				solenoidOpen();
//	  				solenoidClose();
	  				flowControllerADC(&hadc1);
					pumpTestsParameters[pump].eNextState = ULTIMATE_MEASURE_TEST;
	  				//dacSet(&hdac, DAC_CHANNEL_1, setFlowRate(pumpTestsParameters[pump].LTI[8]));

	  				// Starts data Transfer
	  				SET_FLAG_BIT(dataTransmitFlags, SEND_DATA_BIT);
	  				osThreadResume(sendDataHandle);

	  				// Starts this timer
	  				HAL_TIM_Base_Start_IT(&htim10);
	  				resetTime();

	  				break;
	  			case ULTIMATE_MEASURE_TEST:
	  				flowControllerADC(&hadc1);
					volts = adcGet(&hadc1);
					flowRate = readFlow(volts);
					vacuumGaugeADC(&hadc1);
					volts = adcGet(&hadc1);
					vacuumScale = readVacuum(volts);

					// Remove this once STM is connected to Hardware
					//

	  				if(pumpTestsParameters[pump].UMTI[2] == hours && pumpTestsParameters[pump].UMTI[3] == minutes){	// Success
	  					HAL_TIM_Base_Stop_IT(&htim10);
	  					// osThreadSuspend(sendDataHandle);
	  					CLEAR_FLAG_BIT(dataTransmitFlags, SEND_DATA_BIT);	// Suspends Data Transfer
	  					osThreadSuspend(stateMachineHandle);			// Pause Testing until Final Message is sent
	  					pumpTestsParameters[pump].currentState++;
	  					pumpTestsParameters[pump].eNextState = *(pumpTestsParameters[pump].currentState);
	  				}else if(temperature >= pumpTestsParameters[0].UMTI[7]){	// if current temp is >= temp limit
	  					pumpTestsParameters[pump].eNextState = FAIL_STATE;
	  					pumpTestsParameters[pump].pumpStatus = FAILURE;
	  					break;
	  				}
	  				osDelay(100);	// Checks condition every 100 ms
	  				break;
	  			case IDLE:
	  				flowControllerADC(&hadc1);
					flowVolts = adcGet(&hadc1);
					flowRate = readFlow(flowVolts);
					vacuumGaugeADC(&hadc1);
					vacVolts = adcGet(&hadc1);
					vacuumScale = readVacuum(vacVolts);

					// This is the tests for the Flow Controller
					flowRateMethod(0);
					//flowStateClose();
					//flowStateOpen();
					flowStateControl();
					dacSet(&hdac, DAC_CHANNEL_1, setFlowRate(50));

					//solenoidTwoOpen();
					// This is testing the Stepper Moter
//					if(seconds%10 == 0){
//						stepperClose();
//						HAL_TIM_Base_Start_IT(&htim7);
//					}else if(seconds%10 == 5){
//						stepperOpen();
//						HAL_TIM_Base_Start_IT(&htim7);
//					}
					//accessPumpData(&huart5);

//					if(seconds%2 == 0){
//						HAL_GPIO_TogglePin(GPIOD, GPIO_PIN_6);
//						HAL_GPIO_TogglePin(GPIOD, GPIO_PIN_5);
//					}
					HAL_GPIO_WritePin(greenLightGroup, greenLightPin, 1);
					HAL_GPIO_WritePin(redLightGroup, redLightPin, 0);

	  				if(!GET_FLAG_BIT(dataTransmitFlags, SEND_DATA_BIT)){
						// Starts data Transfer
						SET_FLAG_BIT(dataTransmitFlags, SEND_DATA_BIT);
						osThreadResume(sendDataHandle);

						// Starts this timer
						HAL_TIM_Base_Start_IT(&htim10);
						resetTime();
	  				}
					osDelay(1000);
	  				break;
	  			case FAIL_STATE:
	  				HAL_UART_Transmit(&huart3, (uint8_t*)&pumpTestsParameters[pump].eNextState, 1, HAL_MAX_DELAY);
	  				HAL_TIM_Base_Stop_IT(&htim10);
	  				osThreadSuspend(sendDataHandle);
	  				pumpTestsParameters[pump].currentState++;
	  				pumpTestsParameters[pump].eNextState = *(pumpTestsParameters[pump].currentState);
	  				break;
	  			case STOP:
	  				HAL_UART_Transmit(&huart3, (uint8_t*)&pumpTestsParameters[pump].eNextState, 1, HAL_MAX_DELAY);
	  				pumpTestsParameters[pump].eNextState = STOP;
	  				HAL_Delay(5000);
	  				break;
	  			default:
	  				pumpTestsParameters[pump].eNextState = START;
	  }
  }
  /* USER CODE END 5 */
}

void StartTask02(void *argument)
{
  /* USER CODE BEGIN StartTask02 */
  /* Infinite loop */
  for(;;)
  {

	  uint8_t *vacuumScaleBytes = (uint8_t *) &vacuumScale;
	  uint8_t *temperatureBytes = (uint8_t *) &temperature;
	  uint8_t *flowRateBytes = (uint8_t *) &flowRate;

    switch(pumpTestsParameters[pump].eNextState){
		case START:
			break;
		case IDLE:
			tx_buffer[0] = pumpTestsParameters[pump].eNextState;
			tx_buffer[1] = pump;
			tx_buffer[2] = hours;
			tx_buffer[3] = minutes;
			tx_buffer[4] = seconds;
			tx_buffer[5] = vacuumScaleBytes[0];	// Torr
			tx_buffer[6] = vacuumScaleBytes[1];
			tx_buffer[7] = vacuumScaleBytes[2];
			tx_buffer[8] = vacuumScaleBytes[3];
			tx_buffer[9] = temperatureBytes[0];	// Temperature in C
			tx_buffer[10] = temperatureBytes[1];
			tx_buffer[11] = temperatureBytes[2];
			tx_buffer[12] = temperatureBytes[3];
			tx_buffer[13] = flowRateBytes[0];	// L/min
			tx_buffer[14] = flowRateBytes[1];
			tx_buffer[15] = flowRateBytes[2];
			tx_buffer[16] = flowRateBytes[3];
			tx_buffer_size = 17;
			break;
		case FAIL_STATE:
			break;
		case STOP:
			break;
		default:
			tx_buffer[0] = pumpTestsParameters[pump].eNextState;
			tx_buffer[1] = pump;
			tx_buffer[2] = hours;
			tx_buffer[3] = minutes;
			tx_buffer[4] = seconds;
			tx_buffer[5] = vacuumScaleBytes[0];	// Torr
			tx_buffer[6] = vacuumScaleBytes[1];
			tx_buffer[7] = vacuumScaleBytes[2];
			tx_buffer[8] = vacuumScaleBytes[3];
			tx_buffer[9] = temperatureBytes[0];	// Temperature in C
			tx_buffer[10] = temperatureBytes[1];
			tx_buffer[11] = temperatureBytes[2];
			tx_buffer[12] = temperatureBytes[3];
			tx_buffer[13] = flowRateBytes[0];	// L/min
			tx_buffer[14] = flowRateBytes[1];
			tx_buffer[15] = flowRateBytes[2];
			tx_buffer[16] = flowRateBytes[3];
			tx_buffer_size = 17;
			break;
    }
    HAL_UART_Transmit_IT(&huart3, (uint8_t*)tx_buffer, tx_buffer_size);
    //HAL_UART_Transmit(&huart3, (uint8_t*)tx_buffer, tx_buffer_size, HAL_MAX_DELAY);

    // If data no longer needs to be sent
	if(!GET_FLAG_BIT(dataTransmitFlags, SEND_DATA_BIT)){
		osThreadResume(stateMachineHandle);
		osThreadSuspend(sendDataHandle);
	}else{
		osDelay(1000);
	}
  }
  /* USER CODE END StartTask02 */
}

void HAL_TIM_PeriodElapsedCallback(TIM_HandleTypeDef *htim)
{
  if (htim->Instance == TIM6) {
    HAL_IncTick();
  }
  /* USER CODE BEGIN Callback 1 */
  if(htim == &htim10) { // This a timer period = 1 sec
  		seconds++;
  		if(seconds == 60){
  			seconds = 0;
  			minutes++;
  			if(minutes == 60){
  				minutes = 0;
  				hours++;
  			}
  		}
  	}
  if(htim->Instance == TIM7) { // This is for PWM
	  currPos = toggleCount/2;
	if(steps != currPos || ((toggleCount%2) != 0)){
		if(steps > currPos ){
			HAL_GPIO_WritePin(dirGroup, dirPin, SET);
			toggleCount++;
		}
		else {
			HAL_GPIO_WritePin(dirGroup, dirPin, RESET);
			toggleCount--;
		}
		HAL_GPIO_TogglePin(pulGroup, pulPin);
		HAL_TIM_Base_Start_IT(&htim7);
	}else{	// Current Position == Steps
		HAL_TIM_Base_Stop_IT(&htim7);
	}
	 //HAL_GPIO_TogglePin(GPIOF, GPIO_PIN_5);
  }

  /* USER CODE END Callback 1 */
}

void Error_Handler(void)
{
  __disable_irq();
  while (1)
  {
  }
}
